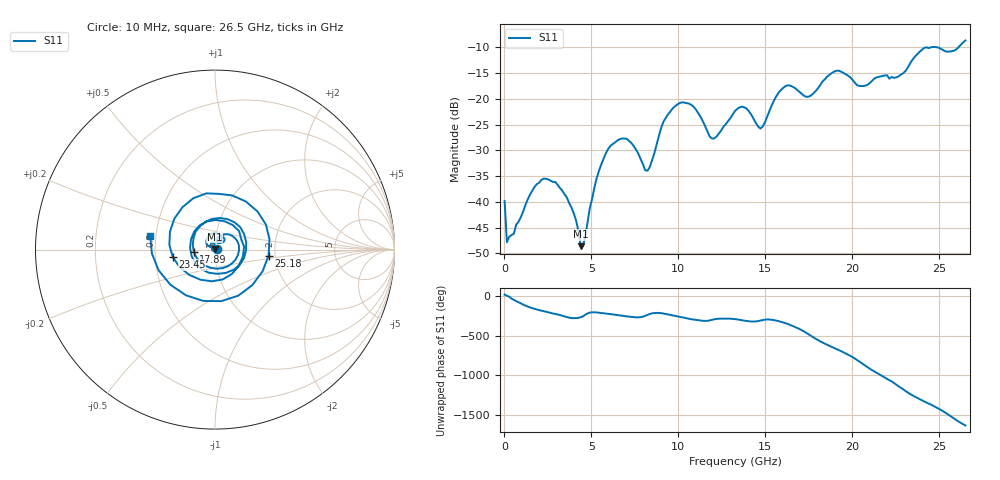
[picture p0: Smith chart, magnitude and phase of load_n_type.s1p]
#  HZ  S  DB  R  50.00
! Rohde & Schwarz Vector Network Analyzer
! Rohde-Schwarz,ZNA26-4Port,1332450024101475,2.90
! Created: UTC 5/23/2025, 8:18:50 PM
! freq[Hz]  db:S33  ang:S33
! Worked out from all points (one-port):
!   201 points, 10 MHz to 26.5 GHz, reference 50 ohm
!   lowest |S11| = -48.6 dB at 4.381 GHz (marker M1), VSWR 1.01, Z = 50 + j0.369 ohm
!   |S11| at or under -10 dB: start of sweep to 24.23 GHz; 24.27 GHz to 24.5 GHz (236.5 MHz wide, 0.97 % of centre); 24.91 GHz to 26.1 GHz (1.19 GHz wide, 4.66 % of centre)
!   S11 on the Smith chart (normalised r, x): 10 MHz: 1.02, +0.01; 17.89 GHz: 0.79, -0.02; 23.45 GHz: 0.62, -0.05; 25.18 GHz: 1.84, -0.14; 26.5 GHz: 0.47, +0.08
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1e7  -39.83 23.6
1.4245e8  -47.84 7.2
2.1292e9  -35.71 179.1
3.32125e9  -37.80 116.3
4.38085e9  -48.60 96.2
5.5729e9  -32.66 151.0
6.6325e9  -27.82 119.1
8.2219e9  -33.95 126.4
9.14905e9  -24.40 143.2
9.94375e9  -21.08 108.2
1.08709e10  -21.52 67.3
1.19305e10  -27.69 63.5
1.3255e10  -22.36 72.9
1.471195e10  -25.76 54.4
1.577155e10  -18.74 46.8
1.656625e10  -17.64 -13.4
1.789075e10  -18.49 -174.8
1.88179e10  -14.99 81.6
1.98775e10  -15.81 -31.1
2.080465e10  -17.37 -164.4
2.159935e10  -15.66 88.8
2.239405e10  -15.92 -14.3
2.318875e10  -13.93 -135.6
2.345365e10  -12.43 -170.4
2.424835e10  -9.98 98.7
2.51755e10  -10.45 -6.4
2.583775e10  -10.65 -102.7
2.65e10  -8.66 168.1
